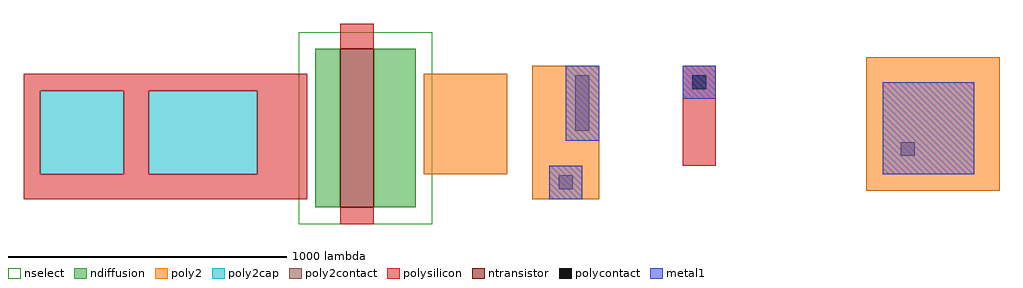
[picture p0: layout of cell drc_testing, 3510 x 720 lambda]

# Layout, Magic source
magic
tech amic5n
<< nselect >>
rect 120 60 600 750
<< poly2 >>
rect 570 240 870 600
rect 960 150 1200 630
rect 2160 180 2640 660
<< poly2cap >>
rect -810 240 -510 540
rect -420 240 -30 540
<< poly2contact >>
rect 1115 395 1165 595
<< poly2contact >>
rect 2285 305 2335 355
<< poly2contact >>
rect 1055 185 1105 235
<< ntransistor >>
rect 270 120 390 690
<< ndiffusion >>
rect 180 120 270 690
rect 390 120 540 690
<< polysilicon >>
rect 270 690 390 780
rect -870 540 150 600
rect -870 240 -810 540
rect -510 240 -420 540
rect -30 240 150 540
rect -870 150 150 240
rect 1500 270 1620 630
rect 270 60 390 120
<< polycontact >>
rect 1535 545 1585 595
<< metal1 >>
rect 1080 360 1200 630
rect 1500 510 1620 630
rect 1020 150 1140 270
rect 2220 240 2550 570
<< end >>
